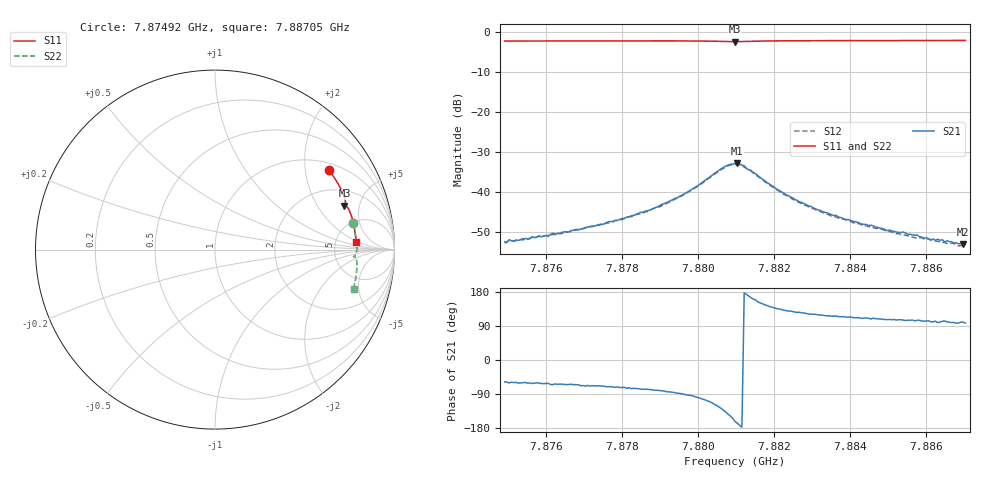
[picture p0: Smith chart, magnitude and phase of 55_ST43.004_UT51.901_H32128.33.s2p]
#  HZ  S  DB  R  50.00
! Rohde & Schwarz Vector Network Analyzer
! Rohde-Schwarz,ZNB20-2Port,1311601062101988,3.16
! Created: UTC 1/12/2023, 6:33:14 PM
! freq[Hz]  db:S11  ang:S11  db:S21  ang:S21  db:S12  ang:S12  db:S22  ang:S22
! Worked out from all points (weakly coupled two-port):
!   201 points, 7.87492 GHz to 7.88705 GHz, reference 50 ohm
!   highest |S21| = -32.76 dB at 7.88104 GHz (marker M1); lowest = -53.1 dB at 7.88699 GHz (marker M2)
!   lowest |S11| = -2.4 dB at 7.88098 GHz (marker M3), VSWR 7.38, Z = 152 + j178 ohm
!   |S11| at or under -10 dB: nowhere
!   |S22| runs from -2.2 to -1.9 dB; largest |S21 - S12| = 0.0016
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7.874915e9  -2.23 34.8  -52.52 -57.7  -52.95 -61.5  -2.14 10.7
7.874976e9  -2.22 34.6  -52.68 -58.4  -52.49 -61.0  -2.14 10.6
7.875036e9  -2.22 34.5  -51.97 -60.4  -52.25 -62.1  -2.13 10.4
7.876068e9  -2.20 31.6  -51.17 -61.5  -50.83 -64.5  -2.11 8.1
7.876189e9  -2.21 31.3  -50.38 -65.0  -50.62 -67.9  -2.10 7.8
7.876977e9  -2.19 29.1  -49.21 -67.5  -49.23 -70.0  -2.08 5.9
7.878008e9  -2.18 26.3  -46.97 -72.6  -46.66 -76.8  -2.06 3.5
7.878979e9  -2.17 23.6  -43.54 -80.2  -43.81 -84.0  -2.06 1.2
7.879707e9  -2.19 21.5  -40.17 -92.1  -40.32 -95.4  -2.06 -0.6
7.880738e9  -2.34 18.9  -33.54 -137.4  -33.75 -140.8  -2.21 -2.9
7.880981e9  -2.37 18.8  -32.94 -162.3  -33.12 -163.2  -2.24 -2.9
7.881041e9  -2.37 18.8  -32.76 -166.9  -33.17 -169.1  -2.24 -2.8
7.881344e9  -2.29 18.5  -34.48 168.5  -34.46 164.8  -2.17 -3.0
7.882194e9  -2.16 16.2  -39.97 133.8  -40.19 130.5  -2.03 -4.8
7.883043e9  -2.13 13.8  -44.02 120.9  -44.24 117.0  -1.98 -6.9
7.883892e9  -2.10 11.5  -46.96 113.7  -46.96 110.0  -1.96 -8.8
7.885044e9  -2.09 8.4  -49.56 107.0  -49.92 105.5  -1.94 -11.4
7.885772e9  -2.08 6.5  -50.80 104.7  -51.67 100.9  -1.92 -12.9
7.886136e9  -2.08 5.6  -52.13 100.5  -51.92 99.0  -1.93 -13.8
7.886318e9  -2.08 5.1  -51.84 98.5  -52.39 97.5  -1.92 -14.2
7.886985e9  -2.08 3.4  -53.14 100.0  -53.57 96.6  -1.92 -15.6
7.887046e9  -2.08 3.2  -53.10 97.3  -53.53 96.8  -1.92 -15.7
